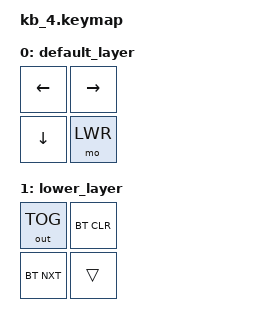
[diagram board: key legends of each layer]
/*
 * Copyright (c) 2020 The ZMK Contributors
 *
 * SPDX-License-Identifier: MIT
 */

#include <behaviors.dtsi>
#include <dt-bindings/zmk/keys.h>
#include <dt-bindings/zmk/bt.h>
#include <dt-bindings/zmk/outputs.h>

#define DEF 0
#define LWR 1

/ {
        keymap {
                compatible = "zmk,keymap";

                default_layer {
                        bindings = <
        &kp LEFT &kp RIGHT
        &kp DOWN &mo LWR
                        >;
                };
                lower_layer {
                        bindings = <
        &out OUT_TOG &bt BT_CLR
        &bt BT_NXT   &trans
                        >;
                };
        };
};
